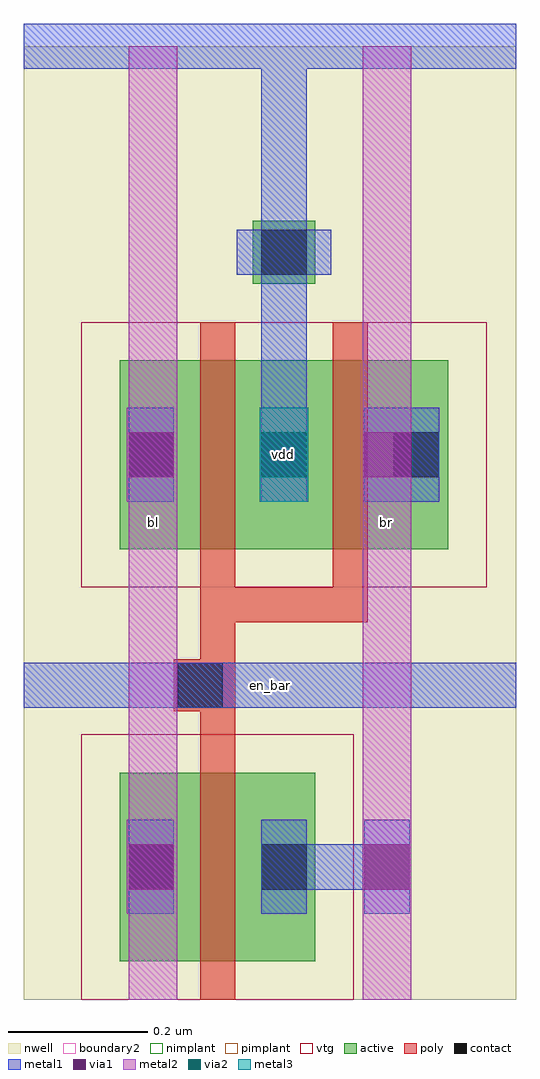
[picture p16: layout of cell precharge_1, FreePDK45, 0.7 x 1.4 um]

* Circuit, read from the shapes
.subckt precharge_1 bl br en_bar vdd
M1 br en_bar bl vdd pfet w=0.27u l=0.05u
M2 vdd en_bar bl vdd pfet w=0.27u l=0.05u
M3 br en_bar vdd vdd pfet w=0.27u l=0.05u
.ends

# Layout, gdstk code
import gdstk
lib = gdstk.Library(unit=1e-6, precision=5e-10)
def R(c, l, rs):  # rectangles x0, y0, x1, y1
    for r in rs: c.add(gdstk.rectangle(r[:2], r[2:], *l))
active = (1, 0)
nwell = (3, 0)
nimplant = (4, 0)
pimplant = (5, 0)
vtg = (6, 0)
poly = (9, 0)
contact = (10, 0)
metal1 = (11, 0)
via1 = (12, 0)
metal2 = (13, 0)
via2 = (14, 0)
metal3 = (15, 0)
boundary2 = (239, 0)

contact_11 = lib.new_cell('contact_11')
R(contact_11, active, [(0,0.0225,0.09,0.1125)])
R(contact_11, nwell, [(-0.055,-0.0325,0.145,0.1675)])
R(contact_11, pimplant, [(0,0.0225,0.09,0.1125)])
R(contact_11, contact, [(0.0125,0.035,0.0775,0.1)])
R(contact_11, metal1, [(0.0125,0,0.0775,0.135)])

pmos_m1_w0_270 = lib.new_cell('pmos_m1_w0_270')
R(pmos_m1_w0_270, active, [(0,0,0.28,0.27)])
R(pmos_m1_w0_270, nwell, [(-0.055,-0.055,0.335,0.325)])
R(pmos_m1_w0_270, pimplant, [(0,0,0.28,0.27)])
R(pmos_m1_w0_270, vtg, [(-0.055,-0.055,0.335,0.325)])
R(pmos_m1_w0_270, poly, [(0.115,-0.055,0.165,0.325), (0.115,-0.055,0.165,0.325)])
R(pmos_m1_w0_270, metal1, [(0.0125,0.0675,0.0775,0.2025), (0.2025,0.0675,0.2675,0.2025)])
R(pmos_m1_w0_270, boundary2, [(-0.055,-0.055,0.335,0.325)])
pmos_m1_w0_270.add(gdstk.Reference(contact_11, (0,0.0675)))
pmos_m1_w0_270.add(gdstk.Reference(contact_11, (0.19,0.0675)))
pmos_m1_w0_270.add(gdstk.Label('G', (0.14,0.135), layer=9, texttype=0))
pmos_m1_w0_270.add(gdstk.Label('S', (0.045,0.135), layer=11, texttype=0))
pmos_m1_w0_270.add(gdstk.Label('D', (0.235,0.135), layer=11, texttype=0))

contact_12 = lib.new_cell('contact_12')
R(contact_12, poly, [(0.03,0,0.105,0.075)])
R(contact_12, contact, [(0.035,0.005,0.1,0.07)])
R(contact_12, metal1, [(0,0.005,0.135,0.07)])

contact_13 = lib.new_cell('contact_13')
R(contact_13, active, [(0.0225,0,0.1125,0.09)])
R(contact_13, nwell, [(-0.0325,-0.055,0.1675,0.145)])
R(contact_13, nimplant, [(0.0225,0,0.1125,0.09)])
R(contact_13, contact, [(0.035,0.0125,0.1,0.0775)])
R(contact_13, metal1, [(0,0.0125,0.135,0.0775)])

contact_14 = lib.new_cell('contact_14')
R(contact_14, metal1, [(0.0025,0,0.0675,0.135)])
R(contact_14, via1, [(0.0025,0.035,0.0675,0.1)])
R(contact_14, metal2, [(0,0,0.07,0.135)])

contact_15 = lib.new_cell('contact_15')
R(contact_15, metal2, [(0,0,0.07,0.135)])
R(contact_15, via2, [(0.0025,0.035,0.0675,0.1)])
R(contact_15, metal3, [(0,0,0.07,0.135)])

precharge_1 = lib.new_cell('precharge_1')
R(precharge_1, nwell, [(0,0,0.705,1.365)])
R(precharge_1, poly, [(0.2525,0,0.3025,0.59), (0.2525,0.54,0.4925,0.59)])
R(precharge_1, metal1, [(0.3725,0.1575,0.52,0.2225), (0,0.4175,0.705,0.4825), (0.52,0.7475,0.5625,0.8125), (0.34,0.8475,0.405,1.365), (0,1.3325,0.705,1.3975)])
R(precharge_1, metal2, [(0.15,0,0.22,1.365), (0.485,0,0.555,1.365), (0.1825,0.1225,0.185,0.2575), (0.1825,0.7125,0.185,0.8475)])
R(precharge_1, metal3, [(0.3375,0.7125,0.4075,0.8475)])
precharge_1.add(gdstk.Reference(pmos_m1_w0_270, (0.1375,0.055)))
precharge_1.add(gdstk.Reference(pmos_m1_w0_270, (0.1375,0.645)))
precharge_1.add(gdstk.Reference(pmos_m1_w0_270, (0.3275,0.645)))
precharge_1.add(gdstk.Reference(contact_12, (0.185,0.4125)))
precharge_1.add(gdstk.Reference(contact_13, (0.305,1.025)))
precharge_1.add(gdstk.Reference(contact_14, (0.3375,0.7125)))
precharge_1.add(gdstk.Reference(contact_15, (0.3375,0.7125)))
precharge_1.add(gdstk.Reference(contact_14, (0.1475,0.7125)))
precharge_1.add(gdstk.Reference(contact_14, (0.1475,0.1225)))
precharge_1.add(gdstk.Reference(contact_14, (0.485,0.7125)))
precharge_1.add(gdstk.Reference(contact_14, (0.485,0.1225)))
precharge_1.add(gdstk.Label('en_bar', (0.3525,0.45), layer=11, texttype=0))
precharge_1.add(gdstk.Label('vdd', (0.3725,0.78), layer=15, texttype=0))
precharge_1.add(gdstk.Label('bl', (0.185,0.6825), layer=13, texttype=0))
precharge_1.add(gdstk.Label('br', (0.52,0.6825), layer=13, texttype=0))

lib.write_gds('precharge_1.gds')
